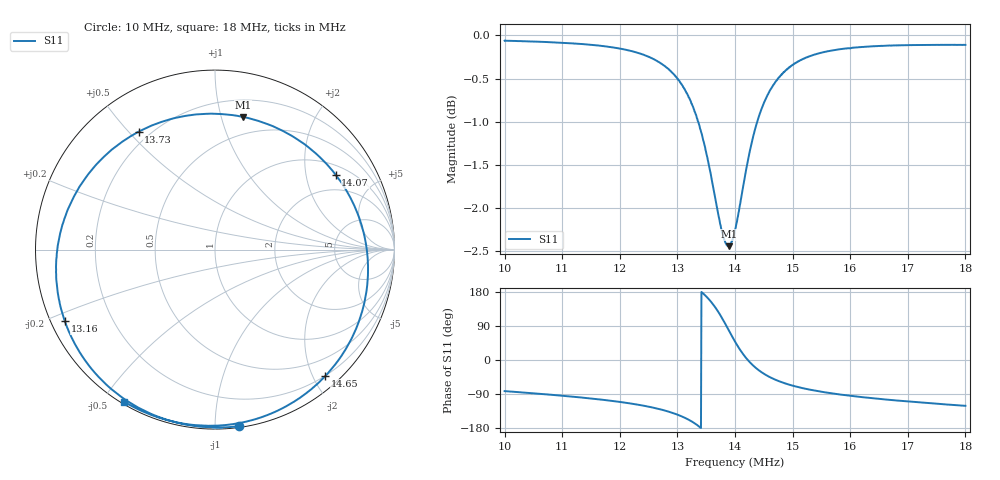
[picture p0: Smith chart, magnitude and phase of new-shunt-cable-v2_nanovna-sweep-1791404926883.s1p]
! NanoVNA Web complex sweep
! Processing: unaveraged complex samples; linear segment spacing; no smoothing
# Hz S RI R 50
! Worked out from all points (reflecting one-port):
!   1010 points, 10 MHz to 18 MHz, reference 50 ohm
!   lowest |S11| = -2.4 dB at 13.89 MHz (marker M1), VSWR 7.16, Z = 17.1 + j58.7 ohm
!   phase of S11 starts at -82 deg and turns -399 deg over the sweep
!   S11 on the Smith chart (normalised r, x): 10 MHz: 0.01, -1.15; 13.16 MHz: 0.04, -0.23; 13.73 MHz: 0.16, +0.53; 14.07 MHz: 1.33, +2.97; 14.65 MHz: 0.20, -2.19; 18 MHz: 0.01, -0.57
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1e7  0.1364 -0.9836
1.100698e7  -0.0748 -0.9873
1.200604e7  -0.348 -0.9188
1.233113e7  -0.4638 -0.8594
1.259278e7  -0.5718 -0.7819
1.28148e7  -0.6745 -0.68
1.300509e7  -0.7673 -0.5484
1.315574e7  -0.8359 -0.3991
1.334604e7  -0.8858 -0.1253
1.349669e7  -0.8388 0.1728
1.361562e7  -0.6909 0.4391
1.372663e7  -0.4256 0.6573
1.381385e7  -0.1355 0.749
1.389314e7  0.1553 0.7388
1.394864e7  0.3497 0.6745
1.400414e7  0.5201 0.5705
1.406758e7  0.6723 0.4164
1.417065e7  0.8168 0.1363
1.428166e7  0.852 -0.1454
1.436888e7  0.8239 -0.3293
1.44561e7  0.77 -0.4769
1.465432e7  0.6151 -0.7039
1.48129e7  0.4929 -0.8111
1.50032e7  0.3634 -0.89
1.544722e7  0.1285 -0.9677
1.600225e7  -0.0757 -0.9798
1.700131e7  -0.3275 -0.9312
1.800036e7  -0.5074 -0.8471
